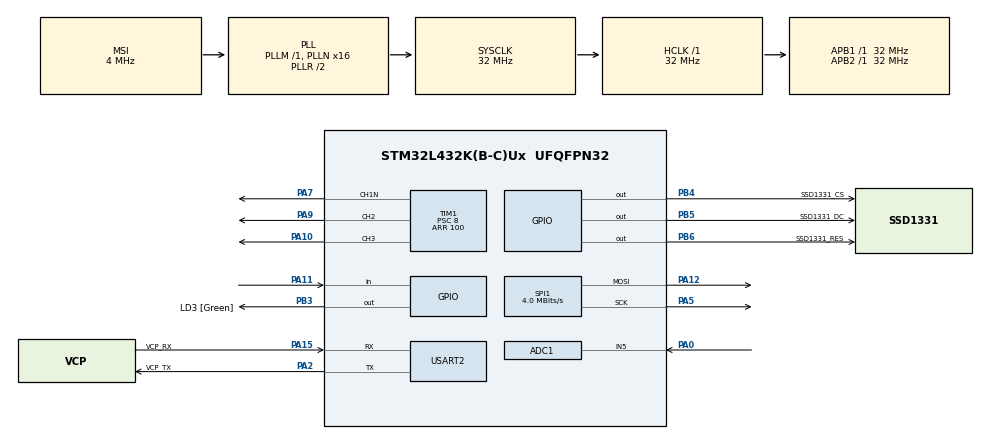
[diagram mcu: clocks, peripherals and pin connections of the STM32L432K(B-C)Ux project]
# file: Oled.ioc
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ADC1.Channel-2\#ChannelRegularConversion=ADC_CHANNEL_5
ADC1.NbrOfConversionFlag=1
ADC1.OffsetNumber-2\#ChannelRegularConversion=ADC_OFFSET_NONE
ADC1.Rank-2\#ChannelRegularConversion=1
ADC1.SamplingTime-2\#ChannelRegularConversion=ADC_SAMPLETIME_2CYCLES_5
ADC1.master=1
Mcu.Family=STM32L4
Mcu.Name=STM32L432K(B-C)Ux
Mcu.Package=UFQFPN32
NVIC.PriorityGroup=NVIC_PRIORITYGROUP_4
PA0.Signal=ADCx_IN5
PA10.Signal=S_TIM1_CH3
PA11.GPIO_PuPd=GPIO_PULLUP
PA11.Signal=GPIO_Input
PA12.Mode=TX_Only_Simplex_Unidirect_Master
PA12.Signal=SPI1_MOSI
PA13\ (JTMS-SWDIO).GPIO_Label=SWDIO
PA13\ (JTMS-SWDIO).Mode=Serial_Wire
PA13\ (JTMS-SWDIO).Signal=SYS_JTMS-SWDIO
PA14\ (JTCK-SWCLK).GPIO_Label=SWCLK
PA14\ (JTCK-SWCLK).Mode=Serial_Wire
PA14\ (JTCK-SWCLK).Signal=SYS_JTCK-SWCLK
PA15\ (JTDI).GPIO_Label=VCP_RX
PA15\ (JTDI).Mode=Asynchronous
PA15\ (JTDI).Signal=USART2_RX
PA2.GPIO_Label=VCP_TX
PA2.Mode=Asynchronous
PA2.Signal=USART2_TX
PA5.Mode=TX_Only_Simplex_Unidirect_Master
PA5.Signal=SPI1_SCK
PA7.Mode=PWM Generation1 CH1N
PA7.Signal=TIM1_CH1N
PA9.Signal=S_TIM1_CH2
PB3\ (JTDO-TRACESWO).GPIO_Label=LD3 [Green]
PB3\ (JTDO-TRACESWO).Signal=GPIO_Output
PB4\ (NJTRST).GPIO_Label=SSD1331_CS
PB4\ (NJTRST).Signal=GPIO_Output
PB5.GPIO_Label=SSD1331_DC
PB5.Signal=GPIO_Output
PB6.GPIO_Label=SSD1331_RES
PB6.Signal=GPIO_Output
PC14-OSC32_IN\ (PC14).Mode=LSE-External-Oscillator
PC14-OSC32_IN\ (PC14).Signal=RCC_OSC32_IN
PC15-OSC32_OUT\ (PC15).Mode=LSE-External-Oscillator
PC15-OSC32_OUT\ (PC15).Signal=RCC_OSC32_OUT
ProjectManager.HeapSize=0x200
ProjectManager.StackSize=0x400
ProjectManager.TargetToolchain=STM32CubeIDE
RCC.ADCFreq_Value=32000000
RCC.AHBFreq_Value=32000000
RCC.APB1Freq_Value=32000000
RCC.APB1TimFreq_Value=32000000
RCC.APB2Freq_Value=32000000
RCC.APB2TimFreq_Value=32000000
RCC.CortexFreq_Value=32000000
RCC.HCLKFreq_Value=32000000
RCC.HSE_VALUE=8000000
RCC.HSI16_VALUE=16000000
RCC.HSI48_VALUE=48000000
RCC.HSI_VALUE=16000000
RCC.MSI_VALUE=4000000
RCC.PLLMUL=RCC_PLLMUL_4
RCC.PLLN=16
RCC.PLLSAI1N=16
RCC.SYSCLKFreq_VALUE=32000000
RCC.SYSCLKSource=RCC_SYSCLKSOURCE_PLLCLK
RCC.USBFreq_Value=32000000
RCC.VCOOutputFreq_Value=64000000
SH.ADCx_IN5.0=ADC1_IN5,IN5-Single-Ended
SH.S_TIM1_CH2.0=TIM1_CH2,PWM Generation2 CH2
SH.S_TIM1_CH3.0=TIM1_CH3,PWM Generation3 CH3
SPI1.BaudRatePrescaler=SPI_BAUDRATEPRESCALER_8
SPI1.CalculateBaudRate=4.0 MBits/s
SPI1.DataSize=SPI_DATASIZE_8BIT
SPI1.Direction=SPI_DIRECTION_2LINES
SPI1.Mode=SPI_MODE_MASTER
SPI1.VirtualType=VM_MASTER
TIM1.Channel-PWM\ Generation1\ CH1N=TIM_CHANNEL_1
TIM1.Channel-PWM\ Generation2\ CH2=TIM_CHANNEL_2
TIM1.Channel-PWM\ Generation3\ CH3=TIM_CHANNEL_3
TIM1.Period=100
TIM1.Prescaler=8
TIM1.Pulse-PWM\ Generation1\ CH1N=100
TIM1.Pulse-PWM\ Generation2\ CH2=120
TIM1.Pulse-PWM\ Generation3\ CH3=130
USART2.VirtualMode-Asynchronous=VM_ASYNC
VP_TIM1_VS_ClockSourceINT.Mode=Internal
board=NUCLEO-L432KC

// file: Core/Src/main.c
/* USER CODE BEGIN Header */
/*******************************************************************************
 * FILE               : main.c
 * PROJECT			  : PROG8126 - Assignment #3 - LCD RGB temp LED
 * PROGRAMMER		  : Vivek Solanki (8925804)
 * First Version	  : 11/11/2023
 * Description        : This File contains all the required function to full fill the
 * 						requirement of Assignment 3, which should display Temparature
 * 						on Top right corner as well as it should glow the RGB LED
 * 						according to Detected Temperature as follow.
 *
 *						Below -15 C    	-->   PURPLE
 *						-15 C  to 5.0 C -->   blue
 *						5.1 C to 15 C   -->   yellow
 *						15.1 C to 25 C	-->   orange
 *						Above 25.1 C    -->   red
 *
 *	Above & Beyond	 : For Above and Beyond I have added one Push button which will
 *					   change the Temparature unit from °C to °F and Vice-Versa
 *					   Furthermore, I displayes the Temparature with Unit on OLED
 *					   with color according to given ranges.
 *  ******************************************************************************
 */
/* USER CODE END Header */
#include "main.h"

/* USER CODE BEGIN Includes */
#include "ssd1331.h"
#include "logo.h"
/* USER CODE END Includes */

/* USER CODE BEGIN PTD */
#define DEBUG_ON
//#define DEBUG_ON
typedef enum
{
	CHANNEL1 = 0, CHANNEL2, CHANNEL3, CHANNEL_MAX
} ChannelNum_e;

typedef enum
{
	TEMPERATURE_UNIT_CELSIUS = 0, TEMPERATURE_UNIT_FAHRENHEIT, TEMPERATURE_UNIT_MAX
} TemperatureUnit_e;
/* USER CODE END PTD */

/* USER CODE BEGIN PD */

/*******************************************************************************
 * FUNCTION      : setPwmDutyCycle()
 * PARAMETERS    : timer_channel_num (input) : Pass here the channel number
 *  			    Example : TIM_CHANNEL_1, TIM_CHANNEL_2 or TIM_CHANNEL_3
 *  			    percentage (input) 		 : Pass here the duty cycle percentage (0-100)
 * RETURNS       : none
 * DESCRIPTION   : This function sets the duty cycle for timer 1's
 *				 	whatever channel number is passed.
 *******************************************************************************
 */
void setPwmDutyCycle(ChannelNum_e timer_channel_num, uint16_t percentage);
/*******************************************************************************
 * FUNCTION      : getTempratureValue()
 * PARAMETERS    : uint32_t iSensorValue
 * RETURNS       : float
 * DESCRIPTION   : This Function Calculates the Temparature value from value readed
 * 				from sensor and returns float value which will be on °C.
 *******************************************************************************
 */
static float getTempratureValue(uint32_t iSensorValue);

/*******************************************************************************
 * FUNCTION      : conevertToFerenhit()
 * PARAMETERS    : float temperatureValue
 * RETURNS       : float
 * DESCRIPTION   : This Function converts the value from °C to °F
 *******************************************************************************
 */
static float conevertToFerenhit(float temperatureValue);

/*******************************************************************************
 * FUNCTION      : displayTemparatureAndGlowColour()
 * PARAMETERS    : float temperatureValue
 * RETURNS       : none
 * DESCRIPTION   : This function derives the temprature range from temperatureValue
 *					then accoding to defined raangle display Temprature string on OLED
 *					and glow LED with colour.
 *******************************************************************************
 */
static void displayTemparatureAndGlowColour(float temperatureValue);
/* USER CODE END PD */

ADC_HandleTypeDef hadc1;

SPI_HandleTypeDef hspi1;

TIM_HandleTypeDef htim1;

UART_HandleTypeDef huart2;

/* USER CODE BEGIN PV */
volatile uint32_t uhADCxConvertedValue = 0;
volatile uint8_t buttonState = 0;
TemperatureUnit_e temperatureUnit = TEMPERATURE_UNIT_CELSIUS;

/* USER CODE END PV */

void SystemClock_Config(void);
static void MX_GPIO_Init(void);
static void MX_USART2_UART_Init(void);
static void MX_SPI1_Init(void);
static void MX_TIM1_Init(void);
static void MX_ADC1_Init(void);

/* USER CODE BEGIN 0 */
uint32_t print_flag = 0;
uint8_t idx;
char tempSign[14];

/* USER CODE END 0 */

int main(void)
{
	/* USER CODE BEGIN 1 */
	float temperatureValue = 0.0;
	/* USER CODE END 1 */

	/* MCU Configuration--------------------------------------------------------*/

	/* Reset of all peripherals, Initializes the Flash interface and the Systick. */
	HAL_Init ();

	/* Configure the system clock */
	SystemClock_Config ();

	/* Initialize all configured peripherals */

	/* USER CODE BEGIN 2 */
	MX_GPIO_Init ();
	MX_USART2_UART_Init ();
	MX_SPI1_Init ();
	MX_TIM1_Init ();
	MX_ADC1_Init ();
	ssd1331_init ();

	/* Run the ADC calibration in single-ended mode */
	if (HAL_ADCEx_Calibration_Start (&hadc1, ADC_SINGLE_ENDED) != HAL_OK)
	{
		/* Calibration Error */
		Error_Handler ();
	}

	/*
	 * Note : for the n channels HAL_TIMEx_PWMN_Start() is used
	 * for normal channels HAL_TIM_PWM_Start
	 */
	HAL_TIMEx_PWMN_Start (&htim1, TIM_CHANNEL_1);
	HAL_TIM_PWM_Start (&htim1, TIM_CHANNEL_2);
	HAL_TIM_PWM_Start (&htim1, TIM_CHANNEL_3);

	/* USER CODE END 2 */

	/* Infinite loop */
	/* USER CODE BEGIN WHILE */
	while (1)
	{
		/*##-3- Start the conversion process #######################################*/
		if (HAL_ADC_Start (&hadc1) != HAL_OK)
		{
			/* Start Conversation Error */
			Error_Handler ();
		}

		/*##-4- Wait for the end of conversion #####################################*/
		/*  For simplicity reasons, this example is just waiting till the end of the
		 conversion, but application may perform other tasks while conversion
		 operation is ongoing. */
		if (HAL_ADC_PollForConversion (&hadc1, 10) != HAL_OK)
		{
			/* End Of Conversion flag not set on time */
			Error_Handler ();
		}
		else
		{
			/* ADC conversion completed */
			/*##-5- Get the converted value of regular channel  ########################*/
			uhADCxConvertedValue = HAL_ADC_GetValue (&hadc1);
			buttonState = HAL_GPIO_ReadPin (GPIOA, GPIO_PIN_11);
			HAL_ADC_Stop (&hadc1);
			print_flag++;

			if (print_flag == 1000)
			{
				print_flag = 0;
			}

			// convert sensor value to TempratureValue
			temperatureValue = getTempratureValue (uhADCxConvertedValue);

			// Derive temparature unit to be displayed
			if (buttonState == GPIO_PIN_RESET)
			{
				if (temperatureUnit == TEMPERATURE_UNIT_CELSIUS)
				{
					temperatureUnit = TEMPERATURE_UNIT_FAHRENHEIT;
				}
				else
				{
					temperatureUnit = TEMPERATURE_UNIT_CELSIUS;
				}
			}

			// Making string to be printed on OLED Display with Temparature unit with Button state
			if (temperatureUnit == TEMPERATURE_UNIT_FAHRENHEIT)
			{
				idx += snprintf (tempSign, sizeof(tempSign), "%.1f",
				                 conevertToFerenhit (temperatureValue));
				snprintf (tempSign + idx, sizeof(tempSign) - idx, "%s", " F");
#ifdef DEBUG_ON
				printf ("buttonState = %d, tempSign = %s\r\n", buttonState, tempSign);
#endif

			}
			else
			{
				idx += snprintf (tempSign, sizeof(tempSign), "%.1f", temperatureValue);
				snprintf (tempSign + idx, sizeof(tempSign) - idx, "%s", " C");
#ifdef DEBUG_ON
				printf ("buttonState = %d, tempSign = %s\r\n", buttonState, tempSign);
#endif
			}
			idx = 0;

			// Sets Colour on RGB LED
			displayTemparatureAndGlowColour (temperatureValue);

			// Delay to take update temparature
			HAL_Delay (500);
		}
		/* USER CODE END WHILE */
	}
}

void SystemClock_Config(void)
{
	RCC_OscInitTypeDef RCC_OscInitStruct = { 0 };
	RCC_ClkInitTypeDef RCC_ClkInitStruct = { 0 };

	/** Configure the main internal regulator output voltage
	 */
	if (HAL_PWREx_ControlVoltageScaling (PWR_REGULATOR_VOLTAGE_SCALE1) != HAL_OK)
	{
		Error_Handler ();
	}

	/** Configure LSE Drive Capability
	 */
	HAL_PWR_EnableBkUpAccess ();
	__HAL_RCC_LSEDRIVE_CONFIG(RCC_LSEDRIVE_LOW);

	/** Initializes the RCC Oscillators according to the specified parameters
	 * in the RCC_OscInitTypeDef structure.
	 */
	RCC_OscInitStruct.OscillatorType = RCC_OSCILLATORTYPE_LSE | RCC_OSCILLATORTYPE_MSI;
	RCC_OscInitStruct.LSEState = RCC_LSE_ON;
	RCC_OscInitStruct.MSIState = RCC_MSI_ON;
	RCC_OscInitStruct.MSICalibrationValue = 0;
	RCC_OscInitStruct.MSIClockRange = RCC_MSIRANGE_6;
	RCC_OscInitStruct.PLL.PLLState = RCC_PLL_ON;
	RCC_OscInitStruct.PLL.PLLSource = RCC_PLLSOURCE_MSI;
	RCC_OscInitStruct.PLL.PLLM = 1;
	RCC_OscInitStruct.PLL.PLLN = 16;
	RCC_OscInitStruct.PLL.PLLP = RCC_PLLP_DIV7;
	RCC_OscInitStruct.PLL.PLLQ = RCC_PLLQ_DIV2;
	RCC_OscInitStruct.PLL.PLLR = RCC_PLLR_DIV2;
	if (HAL_RCC_OscConfig (&RCC_OscInitStruct) != HAL_OK)
	{
		Error_Handler ();
	}

	/** Initializes the CPU, AHB and APB buses clocks
	 */
	RCC_ClkInitStruct.ClockType = RCC_CLOCKTYPE_HCLK | RCC_CLOCKTYPE_SYSCLK
	                | RCC_CLOCKTYPE_PCLK1 | RCC_CLOCKTYPE_PCLK2;
	RCC_ClkInitStruct.SYSCLKSource = RCC_SYSCLKSOURCE_PLLCLK;
	RCC_ClkInitStruct.AHBCLKDivider = RCC_SYSCLK_DIV1;
	RCC_ClkInitStruct.APB1CLKDivider = RCC_HCLK_DIV1;
	RCC_ClkInitStruct.APB2CLKDivider = RCC_HCLK_DIV1;

	if (HAL_RCC_ClockConfig (&RCC_ClkInitStruct, FLASH_LATENCY_1) != HAL_OK)
	{
		Error_Handler ();
	}

	/** Enable MSI Auto calibration
	 */
	HAL_RCCEx_EnableMSIPLLMode ();
}

static void MX_ADC1_Init(void)
{

	ADC_ChannelConfTypeDef sConfig = { 0 };

	/** Common config
	 */
	hadc1.Instance = ADC1;
	hadc1.Init.ClockPrescaler = ADC_CLOCK_ASYNC_DIV1;
	hadc1.Init.Resolution = ADC_RESOLUTION_12B;
	hadc1.Init.DataAlign = ADC_DATAALIGN_RIGHT;
	hadc1.Init.ScanConvMode = ADC_SCAN_DISABLE;
	hadc1.Init.EOCSelection = ADC_EOC_SINGLE_CONV;
	hadc1.Init.LowPowerAutoWait = DISABLE;
	hadc1.Init.ContinuousConvMode = DISABLE;
	hadc1.Init.NbrOfConversion = 1;
	hadc1.Init.DiscontinuousConvMode = DISABLE;
	hadc1.Init.ExternalTrigConv = ADC_SOFTWARE_START;
	hadc1.Init.ExternalTrigConvEdge = ADC_EXTERNALTRIGCONVEDGE_NONE;
	hadc1.Init.DMAContinuousRequests = DISABLE;
	hadc1.Init.Overrun = ADC_OVR_DATA_PRESERVED;
	hadc1.Init.OversamplingMode = DISABLE;
	if (HAL_ADC_Init (&hadc1) != HAL_OK)
	{
		Error_Handler ();
	}

	/** Configure Regular Channel
	 */
	sConfig.Channel = ADC_CHANNEL_5;
	sConfig.Rank = ADC_REGULAR_RANK_1;
	sConfig.SamplingTime = ADC_SAMPLETIME_2CYCLES_5;
	sConfig.SingleDiff = ADC_SINGLE_ENDED;
	sConfig.OffsetNumber = ADC_OFFSET_NONE;
	sConfig.Offset = 0;
	if (HAL_ADC_ConfigChannel (&hadc1, &sConfig) != HAL_OK)
	{
		Error_Handler ();
	}

}

static void MX_SPI1_Init(void)
{

	/* SPI1 parameter configuration*/
	hspi1.Instance = SPI1;
	hspi1.Init.Mode = SPI_MODE_MASTER;
	hspi1.Init.Direction = SPI_DIRECTION_2LINES;
	hspi1.Init.DataSize = SPI_DATASIZE_8BIT;
	hspi1.Init.CLKPolarity = SPI_POLARITY_LOW;
	hspi1.Init.CLKPhase = SPI_PHASE_1EDGE;
	hspi1.Init.NSS = SPI_NSS_SOFT;
	hspi1.Init.BaudRatePrescaler = SPI_BAUDRATEPRESCALER_8;
	hspi1.Init.FirstBit = SPI_FIRSTBIT_MSB;
	hspi1.Init.TIMode = SPI_TIMODE_DISABLE;
	hspi1.Init.CRCCalculation = SPI_CRCCALCULATION_DISABLE;
	hspi1.Init.CRCPolynomial = 7;
	hspi1.Init.CRCLength = SPI_CRC_LENGTH_DATASIZE;
	hspi1.Init.NSSPMode = SPI_NSS_PULSE_ENABLE;
	if (HAL_SPI_Init (&hspi1) != HAL_OK)
	{
		Error_Handler ();
	}

}

static void MX_TIM1_Init(void)
{

	TIM_ClockConfigTypeDef sClockSourceConfig = { 0 };
	TIM_MasterConfigTypeDef sMasterConfig = { 0 };
	TIM_OC_InitTypeDef sConfigOC = { 0 };
	TIM_BreakDeadTimeConfigTypeDef sBreakDeadTimeConfig = { 0 };

	htim1.Instance = TIM1;
	htim1.Init.Prescaler = 8;
	htim1.Init.CounterMode = TIM_COUNTERMODE_UP;
	htim1.Init.Period = 100;
	htim1.Init.ClockDivision = TIM_CLOCKDIVISION_DIV1;
	htim1.Init.RepetitionCounter = 0;
	htim1.Init.AutoReloadPreload = TIM_AUTORELOAD_PRELOAD_DISABLE;
	if (HAL_TIM_Base_Init (&htim1) != HAL_OK)
	{
		Error_Handler ();
	}
	sClockSourceConfig.ClockSource = TIM_CLOCKSOURCE_INTERNAL;
	if (HAL_TIM_ConfigClockSource (&htim1, &sClockSourceConfig) != HAL_OK)
	{
		Error_Handler ();
	}
	if (HAL_TIM_PWM_Init (&htim1) != HAL_OK)
	{
		Error_Handler ();
	}
	sMasterConfig.MasterOutputTrigger = TIM_TRGO_RESET;
	sMasterConfig.MasterOutputTrigger2 = TIM_TRGO2_RESET;
	sMasterConfig.MasterSlaveMode = TIM_MASTERSLAVEMODE_DISABLE;
	if (HAL_TIMEx_MasterConfigSynchronization (&htim1, &sMasterConfig) != HAL_OK)
	{
		Error_Handler ();
	}
	sConfigOC.OCMode = TIM_OCMODE_PWM1;
	sConfigOC.Pulse = 100;
	sConfigOC.OCPolarity = TIM_OCPOLARITY_HIGH;
	sConfigOC.OCNPolarity = TIM_OCNPOLARITY_HIGH;
	sConfigOC.OCFastMode = TIM_OCFAST_DISABLE;
	sConfigOC.OCIdleState = TIM_OCIDLESTATE_RESET;
	sConfigOC.OCNIdleState = TIM_OCNIDLESTATE_RESET;
	if (HAL_TIM_PWM_ConfigChannel (&htim1, &sConfigOC, TIM_CHANNEL_1) != HAL_OK)
	{
		Error_Handler ();
	}
	sConfigOC.Pulse = 120;
	if (HAL_TIM_PWM_ConfigChannel (&htim1, &sConfigOC, TIM_CHANNEL_2) != HAL_OK)
	{
		Error_Handler ();
	}
	sConfigOC.Pulse = 130;
	if (HAL_TIM_PWM_ConfigChannel (&htim1, &sConfigOC, TIM_CHANNEL_3) != HAL_OK)
	{
		Error_Handler ();
	}
	sBreakDeadTimeConfig.OffStateRunMode = TIM_OSSR_DISABLE;
	sBreakDeadTimeConfig.OffStateIDLEMode = TIM_OSSI_DISABLE;
	sBreakDeadTimeConfig.LockLevel = TIM_LOCKLEVEL_OFF;
	sBreakDeadTimeConfig.DeadTime = 0;
	sBreakDeadTimeConfig.BreakState = TIM_BREAK_DISABLE;
	sBreakDeadTimeConfig.BreakPolarity = TIM_BREAKPOLARITY_HIGH;
	sBreakDeadTimeConfig.BreakFilter = 0;
	sBreakDeadTimeConfig.Break2State = TIM_BREAK2_DISABLE;
	sBreakDeadTimeConfig.Break2Polarity = TIM_BREAK2POLARITY_HIGH;
	sBreakDeadTimeConfig.Break2Filter = 0;
	sBreakDeadTimeConfig.AutomaticOutput =
	TIM_AUTOMATICOUTPUT_DISABLE;
	if (HAL_TIMEx_ConfigBreakDeadTime (&htim1, &sBreakDeadTimeConfig) != HAL_OK)
	{
		Error_Handler ();
	}
	HAL_TIM_MspPostInit (&htim1);

}

static void MX_USART2_UART_Init(void)
{

	huart2.Instance = USART2;
	huart2.Init.BaudRate = 115200;
	huart2.Init.WordLength = UART_WORDLENGTH_8B;
	huart2.Init.StopBits = UART_STOPBITS_1;
	huart2.Init.Parity = UART_PARITY_NONE;
	huart2.Init.Mode = UART_MODE_TX_RX;
	huart2.Init.HwFlowCtl = UART_HWCONTROL_NONE;
	huart2.Init.OverSampling = UART_OVERSAMPLING_16;
	huart2.Init.OneBitSampling = UART_ONE_BIT_SAMPLE_DISABLE;
	huart2.AdvancedInit.AdvFeatureInit = UART_ADVFEATURE_NO_INIT;
	if (HAL_UART_Init (&huart2) != HAL_OK)
	{
		Error_Handler ();
	}

}

static void MX_GPIO_Init(void)
{
	GPIO_InitTypeDef GPIO_InitStruct = { 0 };

	/* GPIO Ports Clock Enable */
	__HAL_RCC_GPIOC_CLK_ENABLE();
	__HAL_RCC_GPIOA_CLK_ENABLE();
	__HAL_RCC_GPIOB_CLK_ENABLE();

	/*Configure GPIO pin Output Level */
	HAL_GPIO_WritePin (
	GPIOB,
	                   LD3_Pin | SSD1331_CS_Pin | SSD1331_DC_Pin | SSD1331_RES_Pin,
	                   GPIO_PIN_RESET);

	/*Configure GPIO pin : PA11 */
	GPIO_InitStruct.Pin = GPIO_PIN_11;
	GPIO_InitStruct.Mode = GPIO_MODE_INPUT;
	GPIO_InitStruct.Pull = GPIO_PULLUP;
	HAL_GPIO_Init (GPIOA, &GPIO_InitStruct);

	/*Configure GPIO pins : LD3_Pin SSD1331_CS_Pin SSD1331_DC_Pin SSD1331_RES_Pin */
	GPIO_InitStruct.Pin = LD3_Pin | SSD1331_CS_Pin | SSD1331_DC_Pin | SSD1331_RES_Pin;
	GPIO_InitStruct.Mode = GPIO_MODE_OUTPUT_PP;
	GPIO_InitStruct.Pull = GPIO_NOPULL;
	GPIO_InitStruct.Speed = GPIO_SPEED_FREQ_LOW;
	HAL_GPIO_Init (GPIOB, &GPIO_InitStruct);

}

/* USER CODE BEGIN 4 */

/*******************************************************************************
 * FUNCTION      : setPwmDutyCycle()
 * PARAMETERS    : timer_channel_num (input) : Pass here the channel number
 *  			    Example : TIM_CHANNEL_1, TIM_CHANNEL_2 or TIM_CHANNEL_3
 *  			    percentage (input) 		 : Pass here the duty cycle percentage (0-100)
 * RETURNS       : none
 * DESCRIPTION   : This function sets the duty cycle for timer 1's
 *				 	whatever channel number is passed.
 *******************************************************************************
 */
void setPwmDutyCycle(ChannelNum_e timer_channel_num, uint16_t percentage)
{
	if (percentage > 100)
	{
		percentage = 100;
	}
	else if (percentage < 0)
	{
		percentage = 0;
	}
	__HAL_TIM_SET_COMPARE(&htim1, timer_channel_num, percentage);
}

/*******************************************************************************
 * FUNCTION      : getTempratureValue()
 * PARAMETERS    : uint32_t iSensorValue
 * RETURNS       : float
 * DESCRIPTION   : This Function Calculates the Temparature value from value readed
 * 				from sensor and returns float value which will be on °C.
 *******************************************************************************
 */
static float getTempratureValue(uint32_t iSensorValue)
{
	return (((3.3 * iSensorValue) / 4096.0) - 0.5) * 100;
}

/*******************************************************************************
 * FUNCTION      : conevertToFerenhit()
 * PARAMETERS    : float temperatureValue
 * RETURNS       : float
 * DESCRIPTION   : This Function converts the value from °C to °F
 *******************************************************************************
 */
static float conevertToFerenhit(float temperatureValue)
{
	return temperatureValue * (9 / 5) + 32;
}

/*******************************************************************************
 * FUNCTION      : displayTemparatureAndGlowColour()
 * PARAMETERS    : float temperatureValue
 * RETURNS       : none
 * DESCRIPTION   : This function derives the temprature range from temperatureValue
 *					then accoding to defined raangle display Temprature string on OLED
 *					and glow LED with colour.
 *******************************************************************************
 */
static void displayTemparatureAndGlowColour(float temperatureValue)
{
	int dutyCycle = 100;
	static float prevTemp;

	// To avoid over writing temprrature value because of sign
	if((prevTemp < 0.0 && temperatureValue > 0.0) || (prevTemp > 0.0 && temperatureValue < 0.0))
	{
		ssd1331_clear_screen (BLACK);
	}

	if (temperatureValue < -15.0)
	{
		ssd1331_display_string (2, 2, "Temp.:", FONT_1206, PURPLE);
		ssd1331_display_string (54, 2, tempSign, FONT_1206, PURPLE);
		setPwmDutyCycle (TIM_CHANNEL_1, dutyCycle);	//Generating Shades of red
		setPwmDutyCycle (TIM_CHANNEL_2, dutyCycle);	//Generating Shades of green
		setPwmDutyCycle (TIM_CHANNEL_3, dutyCycle);	//Generating Shades of blue
#ifdef DEBUG_ON
		printf ("PURPLE\r\n");
#endif
	}
	else if (temperatureValue >= -15.0 && temperatureValue <= 5.0)
	{
		ssd1331_display_string (2, 2, "Temp.:", FONT_1206, PURPLE);
		ssd1331_display_string (54, 2, tempSign, FONT_1206, BLUE);
		setPwmDutyCycle (TIM_CHANNEL_1, 0);
		setPwmDutyCycle (TIM_CHANNEL_2, 0);
		setPwmDutyCycle (TIM_CHANNEL_3, dutyCycle);
#ifdef DEBUG_ON
		printf ("Blue\r\n");
#endif
	}
	else if (temperatureValue >= 5.1 && temperatureValue <= 15.0)
	{
		ssd1331_display_string (2, 2, "Temp.:", FONT_1206, PURPLE);
		ssd1331_display_string (54, 2, tempSign, FONT_1206, YELLOW);
		setPwmDutyCycle (TIM_CHANNEL_1, dutyCycle);
		setPwmDutyCycle (TIM_CHANNEL_2, dutyCycle);
		setPwmDutyCycle (TIM_CHANNEL_3, 0);
#ifdef DEBUG_ON
		printf ("Yellow\r\n");
#endif
	}
	else if (temperatureValue >= 15.1 && temperatureValue <= 25.0)
	{
		ssd1331_display_string (2, 2, "Temp.:", FONT_1206, PURPLE);
		ssd1331_display_string (54, 2, tempSign, FONT_1206, ORANGE);
		setPwmDutyCycle (TIM_CHANNEL_1, 100);
		setPwmDutyCycle (TIM_CHANNEL_2, 50);
//		setPwmDutyCycle (TIM_CHANNEL_1, dutyCycle);
//		setPwmDutyCycle (TIM_CHANNEL_2, 15);
		setPwmDutyCycle (TIM_CHANNEL_3, 0);
#ifdef DEBUG_ON
		printf ("Orange\r\n");
#endif
	}
	else if (temperatureValue >= 25.1)
	{
		ssd1331_display_string (2, 0, "Temp.:", FONT_1206, PURPLE);
		ssd1331_display_string (54, 2, tempSign, FONT_1206, RED);
		setPwmDutyCycle (TIM_CHANNEL_1, dutyCycle);
		setPwmDutyCycle (TIM_CHANNEL_2, 0);
		setPwmDutyCycle (TIM_CHANNEL_3, 0);
#ifdef DEBUG_ON
		printf ("Red\r\n");
#endif
	}
	ssd1331_display_string (2, 20, "Press button to", FONT_1206, GOLDEN);
	ssd1331_display_string (2, 32, "change unit", FONT_1206, GOLDEN);

	prevTemp = temperatureValue;
}

/* USER CODE END 4 */

void Error_Handler(void)
{
	/* USER CODE BEGIN Error_Handler_Debug */
	/* User can add his own implementation to report the HAL error return state */
	__disable_irq ();
	while (1)
	{
	}
	/* USER CODE END Error_Handler_Debug */
}
